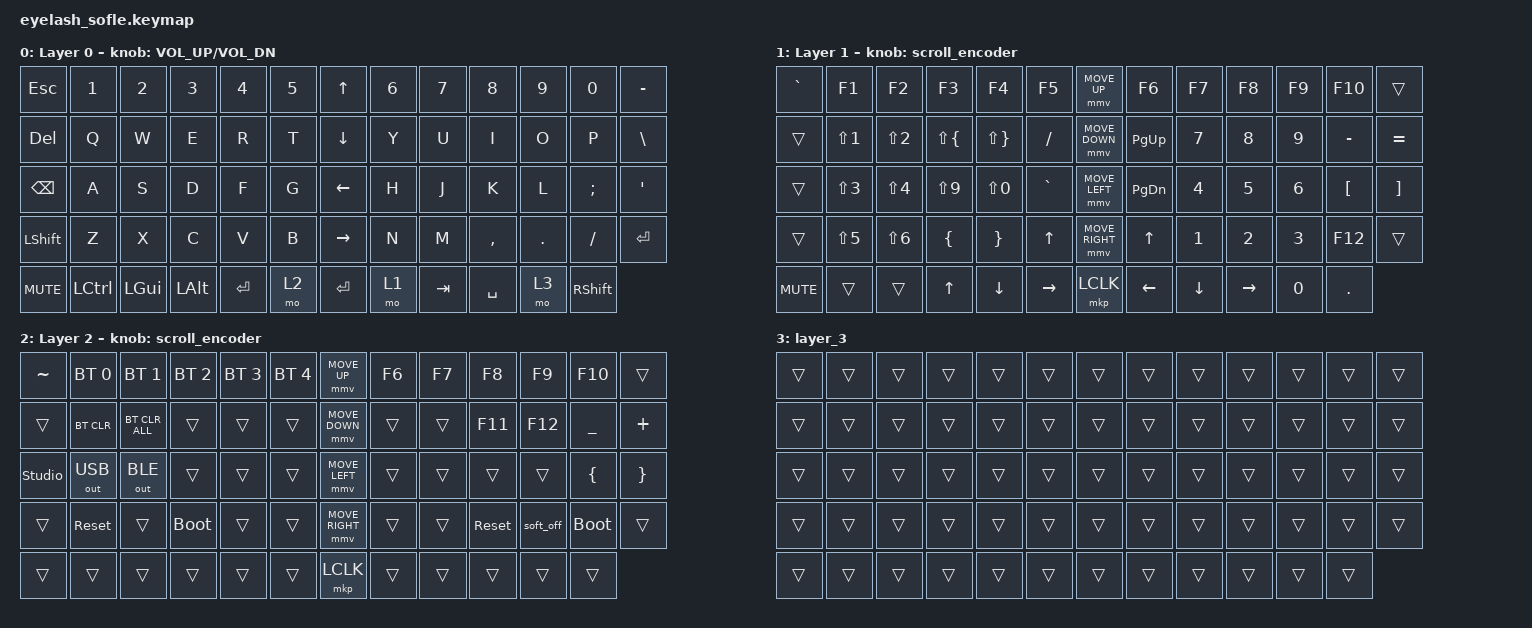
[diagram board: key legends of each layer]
#define ZMK_POINTING_DEFAULT_MOVE_VAL 1200  // 600
#define ZMK_POINTING_DEFAULT_SCRL_VAL 25   // 10

#include <input/processors.dtsi>
#include <zephyr/dt-bindings/input/input-event-codes.h>
#include <behaviors.dtsi>
#include <dt-bindings/zmk/bt.h>
#include <dt-bindings/zmk/keys.h>
#include <dt-bindings/zmk/outputs.h>
#include <dt-bindings/zmk/pointing.h>
#include <dt-bindings/zmk/rgb.h>

&mmv_input_listener { input-processors = <&zip_xy_scaler 2 1>; };

&msc_input_listener { input-processors = <&zip_scroll_scaler 2 1>; };

&msc {
    acceleration-exponent = <1>;      // 0
    time-to-max-speed-ms = <100>;       // 300
    delay-ms = <0>;                   // 0
};

&mmv {
    time-to-max-speed-ms = <500>;
    acceleration-exponent = <1>;
    trigger-period-ms = <16>;
};

&soft_off { hold-time-ms = <2000>; };

/ {
    scroll_encoder: scroll_encoder {
        compatible = "zmk,behavior-sensor-rotate";
        #sensor-binding-cells = <0>;
        bindings = <&msc SCRL_DOWN>, <&msc SCRL_UP>;

        tap-ms = <100>;
    };

    behaviors {
    };

    combos {
        compatible = "zmk,combos";

        softoff {
            bindings = <&soft_off>;
            key-positions = <14 28 40>;
        };
    };

    keymap {
        compatible = "zmk,keymap";

        layer0 {
            bindings = <
&kp ESC         &kp N1     &kp N2        &kp N3        &kp N4      &kp N5       &kp UP_ARROW     &kp N6     &kp N7     &kp N8     &kp N9    &kp N0          &kp MINUS
&kp DELETE      &kp Q      &kp W         &kp E         &kp R       &kp T        &kp DOWN_ARROW   &kp Y      &kp U      &kp I      &kp O     &kp P           &kp BSLH
&kp BACKSPACE   &kp A      &kp S         &kp D         &kp F       &kp G        &kp LEFT_ARROW   &kp H      &kp J      &kp K      &kp L     &kp SEMI        &kp APOS
&kp LSHFT       &kp Z      &kp X         &kp C         &kp V       &kp B        &kp RIGHT_ARROW  &kp N      &kp M      &kp COMMA  &kp DOT   &kp FSLH        &kp ENTER
&kp C_MUTE      &kp LCTRL  &kp LEFT_GUI  &kp LEFT_ALT  &kp ENTER   &mo 2        &kp ENTER        &mo 1      &kp TAB    &kp SPACE  &mo 3     &kp RIGHT_SHIFT
            >;

            sensor-bindings = <&inc_dec_kp C_VOLUME_UP C_VOL_DN>;
            display-name = "Layer 0";
        };

        layer_1 {
            bindings = <
&kp GRAVE   &kp F1           &kp F2          &kp F3               &kp F4               &kp F5           &mmv MOVE_UP     &kp F6           &kp F7           &kp F8      &kp F9     &kp F10           &trans
&trans      &kp LS(1)        &kp LS(2)       &kp LS(LEFT_BRACE)   &kp LS(RIGHT_BRACE)  &kp SLASH        &mmv MOVE_DOWN   &kp PG_UP        &kp N7           &kp N8      &kp N9     &kp MINUS         &kp EQUAL
&trans      &kp LS(3)        &kp LS(4)       &kp LS(9)            &kp LS(0)            &kp GRAVE        &mmv MOVE_LEFT   &kp PG_DN        &kp N4           &kp N5      &kp N6     &kp LEFT_BRACKET  &kp RIGHT_BRACKET
&trans      &kp LS(5)        &kp LS(6)       &kp LEFT_BRACE       &kp RIGHT_BRACE      &kp UP           &mmv MOVE_RIGHT  &kp UP           &kp N1           &kp N2      &kp N3     &kp F12           &trans
&kp C_MUTE  &trans           &trans          &kp UP               &kp DOWN             &kp RIGHT        &mkp LCLK        &kp LEFT         &kp DOWN         &kp RIGHT   &kp N0     &kp PERIOD
            >;

            display-name = "Layer 1";
            sensor-bindings = <&scroll_encoder>;
        };

        layer_2 {
            bindings = <
&kp TILDE      &bt BT_SEL 0  &bt BT_SEL 1    &bt BT_SEL 2  &bt BT_SEL 3  &bt BT_SEL 4    &mmv MOVE_UP     &kp F6  &kp F7  &kp F8      &kp F9     &kp F10      &trans
&trans         &bt BT_CLR    &bt BT_CLR_ALL  &trans        &trans        &trans          &mmv MOVE_DOWN   &trans  &trans  &kp F11     &kp F12    &kp UNDER    &kp PLUS
&studio_unlock &out OUT_USB  &out OUT_BLE    &trans        &trans        &trans          &mmv MOVE_LEFT   &trans  &trans  &trans      &trans     &kp LBRC     &kp RBRC
&trans         &sys_reset    &trans          &bootloader   &trans        &trans          &mmv MOVE_RIGHT  &trans  &trans  &sys_reset  &soft_off  &bootloader  &trans
&trans         &trans        &trans          &trans        &trans        &trans          &mkp LCLK        &trans  &trans  &trans      &trans     &trans
            >;

            display-name = "Layer 2";
            sensor-bindings = <&scroll_encoder>;
        };

        layer_3 {
            bindings = <
&trans  &trans  &trans  &trans  &trans  &trans    &trans  &trans  &trans  &trans  &trans  &trans  &trans
&trans  &trans  &trans  &trans  &trans  &trans    &trans  &trans  &trans  &trans  &trans  &trans  &trans
&trans  &trans  &trans  &trans  &trans  &trans    &trans  &trans  &trans  &trans  &trans  &trans  &trans
&trans  &trans  &trans  &trans  &trans  &trans    &trans  &trans  &trans  &trans  &trans  &trans  &trans
&trans  &trans  &trans  &trans  &trans  &trans    &trans  &trans  &trans  &trans  &trans  &trans
            >;
        };
    };
};
